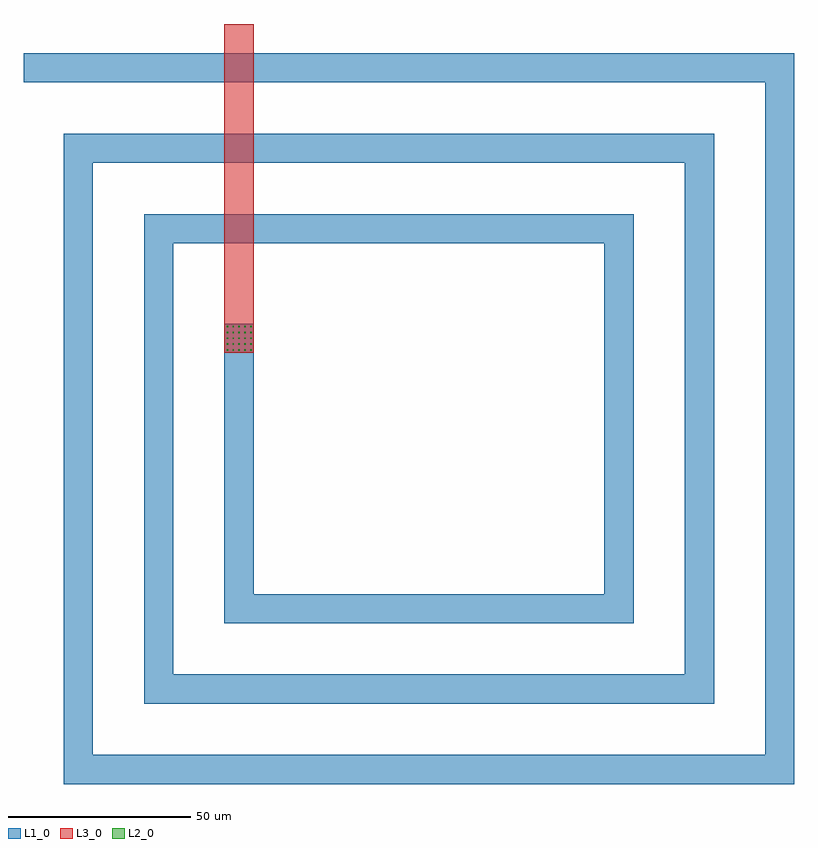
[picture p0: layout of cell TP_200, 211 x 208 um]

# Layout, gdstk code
import gdstk
lib = gdstk.Library(unit=1e-6, precision=1e-09)
def R(c, l, rs):  # rectangles x0, y0, x1, y1
    for r in rs: c.add(gdstk.rectangle(r[:2], r[2:], *l))
def A(c, l, x, y, w, h, nx, ny, dx, dy):  # array of equal rectangles
    R(c, l, [(x+i*dx, y+j*dy, x+i*dx+w, y+j*dy+h) for i in range(nx) for j in range(ny)])
def P(c, l, *ps):  # polygons
    for p in ps: c.add(gdstk.Polygon(p, *l))
L1_0 = (1, 0)
L2_0 = (2, 0)
L3_0 = (3, 0)

tp_200 = lib.new_cell('TP_200')
R(tp_200, L1_0, [(155,237.005,163,244.995)])
P(tp_200, L1_0, [(100,311),(100,319),(311,319),(303,311)],
  [(311,119),(303,127),(303,311),(311,319)],
  [(111,119),(119,127),(303,127),(311,119)],
  [(111,119),(111,297),(119,289),(119,127)],
  [(119,289),(111,297),(289,297),(281,289)],
  [(289,141),(281,149),(281,289),(289,297)],
  [(133,141),(141,149),(281,149),(289,141)],
  [(133,141),(133,275),(141,267),(141,149)],
  [(141,267),(133,275),(267,275),(259,267)],
  [(267,163),(259,171),(259,267),(267,275)],
  [(155,163),(163,171),(259,171),(267,163)],
  [(155,163),(155,245),(163,245),(163,171)])
A(tp_200, L2_0, 155.6, 237.59, 0.4, 0.4, 5, 5, 1.6, 1.6)
R(tp_200, L3_0, [(155,237,163,327), (155,237.005,163,244.995)])

lib.write_gds('TP_200.gds')
